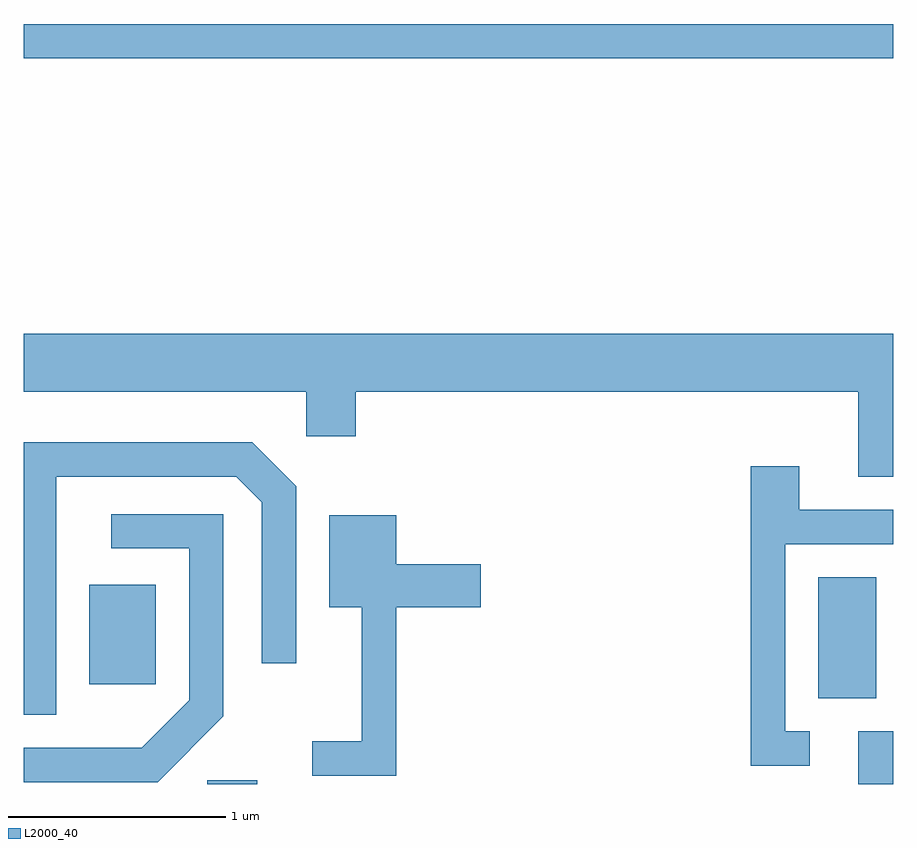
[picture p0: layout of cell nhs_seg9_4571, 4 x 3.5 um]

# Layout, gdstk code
import gdstk
lib = gdstk.Library(unit=1e-6, precision=1e-09)
def R(c, l, rs):  # rectangles x0, y0, x1, y1
    for r in rs: c.add(gdstk.rectangle(r[:2], r[2:], *l))
def P(c, l, *ps):  # polygons
    for p in ps: c.add(gdstk.Polygon(p, *l))
L2000_40 = (2000, 40)

nhs_seg9_4571 = lib.new_cell('nhs_seg9_4571')
R(nhs_seg9_4571, L2000_40, [(320.456,2014.432,320.684,2014.449), (323.451,2014.432,323.611,2014.674), (323.266,2014.826,323.534,2015.384), (319.911,2014.891,320.219,2015.349), (319.611,2017.771,323.611,2017.929)])
P(nhs_seg9_4571, L2000_40, [(323.611,2016.504),(319.611,2016.504),(319.611,2016.236),(320.911,2016.236),(320.911,2016.031),(321.139,2016.031),(321.139,2016.236),(323.451,2016.236),(323.451,2015.846),(323.611,2015.846)],
  [(319.759,2015.846),(320.589,2015.846),(320.706,2015.729),(320.706,2014.988),(320.864,2014.988),(320.864,2015.802),(320.662,2016.004),(319.611,2016.004),(319.611,2014.751),(319.759,2014.751)],
  [(323.228,2014.674),(323.114,2014.674),(323.114,2015.536),(323.611,2015.536),(323.611,2015.694),(323.179,2015.694),(323.179,2015.894),(322.956,2015.894),(322.956,2014.516),(323.228,2014.516)],
  [(320.529,2014.744),(320.529,2015.674),(320.013,2015.674),(320.013,2015.516),(320.371,2015.516),(320.371,2014.817),(320.154,2014.599),(319.611,2014.599),(319.611,2014.441),(320.227,2014.441)],
  [(321.324,2015.246),(321.714,2015.246),(321.714,2015.444),(321.324,2015.444),(321.324,2015.669),(321.016,2015.669),(321.016,2015.246),(321.166,2015.246),(321.166,2014.629),(320.938,2014.629),(320.938,2014.471),(321.324,2014.471)])

lib.write_gds('nhs_seg9_4571.gds')
